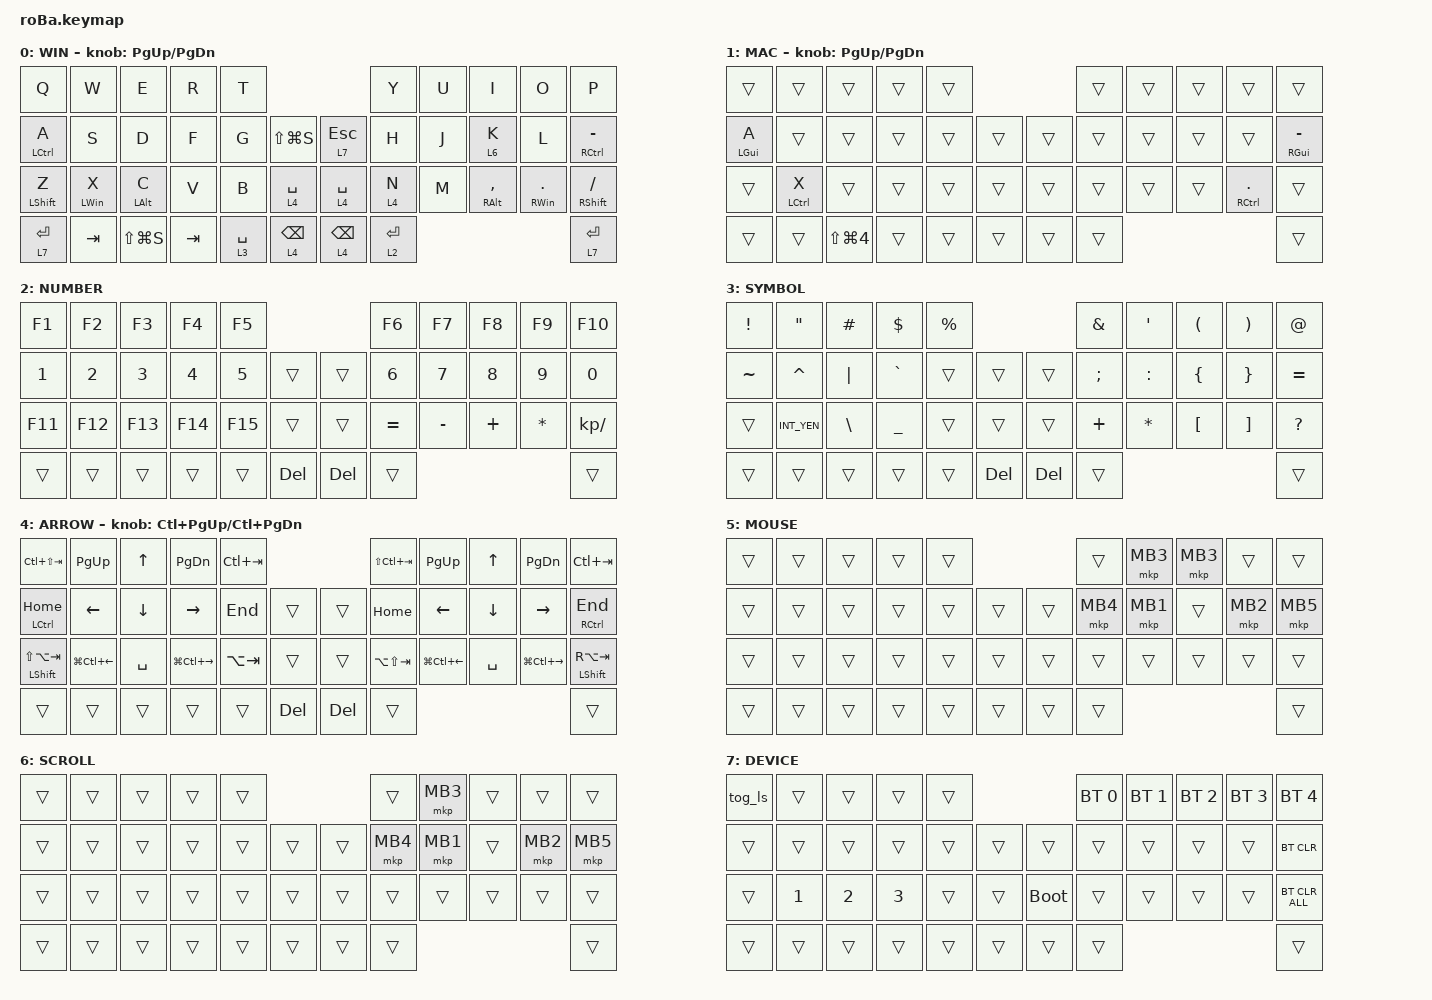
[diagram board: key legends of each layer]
#include <input/processors.dtsi>
#include <behaviors.dtsi>
#include <dt-bindings/zmk/bt.h>
#include <dt-bindings/zmk/keys.h>
#include <dt-bindings/zmk/pointing.h>

&mt {
    flavor = "balanced";
    quick-tap-ms = <150>;
    require-prior-idle-ms = <150>;
    hold-trigger-on-release;
};

&lt {
    flavor = "balanced";
    quick-tap-ms = <150>;
};

&trackball {
    scroll-layers = <6>;

    // arrows {
    //     layers = <4>;
    //     bindings =
    //         <&kp RIGHT_ARROW>,
    //         <&kp LEFT_ARROW>,
    //         <&kp UP_ARROW>,
    //         <&kp DOWN_ARROW>;
    //     tick = <10>;
    //     wait-ms = <5>;
    //     tap-ms = <5>;
    // };
};

/ {
    trackball_listener { input-processors = <&zip_mouse_layer 5 10000>; };

    mkp_input_listener {
        compatible = "zmk,input-listener";
        device = <&mkp>;
        input-processors = <&zip_mouse_layer 5 10000>;
    };

    combos {
        compatible = "zmk,combos";

        combo_esc_l {
            bindings = <&kp ESCAPE>;
            key-positions = <1 2>;
        };

        combo_tab_l {
            bindings = <&kp TAB>;
            key-positions = <11 12>;
            require-prior-idle-ms = <150>;
        };

        combo_backspace_l {
            bindings = <&kp BACKSPACE>;
            key-positions = <12 13>;
            require-prior-idle-ms = <150>;
        };

        combo_eisu {
            bindings = <&kp INTERNATIONAL_5>;
            key-positions = <23 24>;
            require-prior-idle-ms = <150>;
        };

        combo_kana {
            bindings = <&kp INTERNATIONAL_4>;
            key-positions = <31 32>;
            require-prior-idle-ms = <150>;
        };

        combo_esc_r {
            bindings = <&kp ESCAPE>;
            key-positions = <7 8>;
        };

        combo_tab_r {
            bindings = <&kp TAB>;
            key-positions = <19 20>;
            require-prior-idle-ms = <150>;
        };

        combo_backspace_r {
            bindings = <&kp BACKSPACE>;
            key-positions = <18 19>;
            require-prior-idle-ms = <150>;
        };

        colon_l {
            bindings = <&kp COLON>;
            key-positions = <2 3>;
        };

        colon_r {
            bindings = <&kp COLON>;
            key-positions = <7 6>;
        };

        semicolon_l {
            bindings = <&kp SEMICOLON>;
            key-positions = <25 24>;
        };

        semicolon_r {
            bindings = <&kp SEMICOLON>;
            key-positions = <31 30>;
        };
    };

    macros {
        to_layer_0: to_layer_0 {
            compatible = "zmk,behavior-macro-one-param";
            #binding-cells = <1>;
            bindings = <&to 0 &macro_param_1to1 &kp MACRO_PLACEHOLDER>;
            label = "TO_LAYER_0";
        };
    };

    behaviors {
        // Auto Mouse Layer (Input Processor)

        zip_mouse_layer: zip_mouse_layer {
            compatible = "zmk,input-processor-temp-layer";
            #input-processor-cells = <2>;
            require-prior-idle-ms = <200>;
            excluded-positions = <7 18 20>;
        };

        lt_to_layer_0: lt_to_layer_0 {
            compatible = "zmk,behavior-hold-tap";
            label = "LAYER_TAP_TO_0";
            bindings = <&mo>, <&to_layer_0>;

            #binding-cells = <2>;
            tapping-term-ms = <200>;
        };

        // JIS配列対応: &kp を layout-shift 版に置き換え
        // https://github.com/kot149/zmk-layout-shift

        original_key_press: original_key_press {
            compatible = "zmk,behavior-key-press";
            #binding-cells = <1>;
            label = "KEY_PRESS";
        };

        kp: key_press {
            compatible = "zmk,behavior-layout-shift-key-press";
            #binding-cells = <1>;
            label = "LAYOUT_SHIFT_KEY_PRESS";
        };

        tog_ls: toggle_layout_shift {
            compatible = "zmk,behavior-layout-shift-toggle";
            #binding-cells = <0>;
            toggle-mode = "flip";
            label = "LAYOUT_SHIFT_TOGGLE";
        };
    };

    keymap {
        compatible = "zmk,keymap";

        WIN {
            // layer 0

            bindings = <
&kp Q               &kp W           &kp E           &kp R    &kp T                                              &kp Y        &kp U  &kp I                &kp O                 &kp P
&mt LEFT_CONTROL A  &kp S           &kp D           &kp F    &kp G        &kp LS(LG(S))        &lt 7 ESCAPE     &kp H        &kp J  &lt 6 K              &kp L                 &mt RIGHT_CONTROL MINUS
&mt LEFT_SHIFT Z    &mt LEFT_WIN X  &mt LEFT_ALT C  &kp V    &kp B        &lt 4 SPACE          &lt 4 SPACE      &lt 4 N      &kp M  &mt RIGHT_ALT COMMA  &mt RIGHT_WIN PERIOD  &mt RIGHT_SHIFT SLASH
&lt 7 ENTER         &kp TAB         &kp LS(LG(S))   &kp TAB  &lt 3 SPACE  &lt 4 BACKSPACE      &lt 4 BACKSPACE  &lt 2 ENTER                                                    &lt 7 ENTER
            >;

            sensor-bindings = <&inc_dec_kp PG_UP PAGE_DOWN>;
        };

        MAC {
            // layer 1: ベースレイヤー（BT profile 2 接続時に自動で有効化）
            // Ctrl <-> Cmd(GUI) のみ変更。Alt = Option はそのまま

            bindings = <
&trans          &trans              &trans  &trans  &trans                      &trans  &trans  &trans  &trans                    &trans
&mt LEFT_GUI A  &trans              &trans  &trans  &trans  &trans      &trans  &trans  &trans  &trans  &trans                    &mt RIGHT_GUI MINUS
&trans          &mt LEFT_CONTROL X  &trans  &trans  &trans  &trans      &trans  &trans  &trans  &trans  &mt RIGHT_CONTROL PERIOD  &trans
&trans          &trans              &kp LS(LG(N4))  &trans  &trans  &trans      &trans  &trans                                            &trans
            >;

            sensor-bindings = <&inc_dec_kp PG_UP PAGE_DOWN>;
        };

        NUMBER {
            // layer 2

            bindings = <
&kp F1        &kp F2        &kp F3        &kp F4        &kp F5                                 &kp F6        &kp F7        &kp F8        &kp F9        &kp F10
&kp NUMBER_1  &kp NUMBER_2  &kp NUMBER_3  &kp NUMBER_4  &kp NUMBER_5  &trans       &trans      &kp NUMBER_6  &kp NUMBER_7  &kp NUMBER_8  &kp NUMBER_9  &kp NUMBER_0
&kp F11       &kp F12       &kp F13       &kp F14       &kp F15       &trans       &trans      &kp EQUAL     &kp MINUS     &kp PLUS      &kp ASTRK     &kp KP_DIVIDE
&trans        &trans        &trans        &trans        &trans        &kp DEL      &kp DELETE  &trans                                                  &trans
            >;
        };

        SYMBOL {
            // layer 3

            bindings = <
&kp EXCLAMATION  &kp DOUBLE_QUOTES  &kp HASH       &kp DOLLAR  &kp PERCENT                              &kp AMPERSAND  &kp SQT    &kp LEFT_PARENTHESIS  &kp RIGHT_PARENTHESIS  &kp AT_SIGN
&kp TILDE        &kp CARET          &kp PIPE       &kp GRAVE   &trans       &trans          &trans      &kp SEMI       &kp COLON  &kp LEFT_BRACE        &kp RIGHT_BRACE        &kp EQUAL
&trans           &kp INT_YEN        &kp BACKSLASH  &kp UNDER   &trans       &trans          &trans      &kp PLUS       &kp ASTRK  &kp LEFT_BRACKET      &kp RIGHT_BRACKET      &kp QUESTION
&trans           &trans             &trans         &trans      &trans       &kp DELETE      &kp DELETE  &trans                                                                 &trans
            >;
        };

        ARROW {
            // layer 4

            bindings = <
&kp LC(LS(TAB))             &kp PAGE_UP             &kp UP_ARROW    &kp PAGE_DOWN            &kp LC(TAB)                              &kp LS(LC(TAB))  &kp PAGE_UP       &kp UP_ARROW  &kp PAGE_DOWN      &kp LC(TAB)
&mt LEFT_CONTROL HOME       &kp LEFT_ARROW          &kp DOWN_ARROW  &kp RIGHT_ARROW          &kp END      &trans          &trans      &kp HOME         &kp LEFT_ARROW    &kp DOWN      &kp RIGHT          &mt RIGHT_CONTROL END
&mt LEFT_SHIFT LS(LA(TAB))  &kp LG(LC(LEFT_ARROW))  &kp SPACE       &kp LG(LC(RIGHT_ARROW))  &kp LA(TAB)  &trans          &trans      &kp LA(LS(TAB))  &kp LG(LC(LEFT))  &kp SPACE     &kp LG(LC(RIGHT))  &mt LEFT_SHIFT RA(TAB)
&trans                      &trans                  &trans          &trans                   &trans       &kp DELETE      &kp DELETE  &trans                                                              &trans
            >;

            sensor-bindings = <&inc_dec_kp LC(PAGE_UP) LC(PAGE_DOWN)>;
        };

        MOUSE {
            // layer 5

            bindings = <
&trans  &trans  &trans  &trans  &trans                      &trans    &mkp MB3  &mkp MB3  &trans    &trans
&trans  &trans  &trans  &trans  &trans  &trans      &trans  &mkp MB4  &mkp MB1  &trans    &mkp MB2  &mkp MB5
&trans  &trans  &trans  &trans  &trans  &trans      &trans  &trans    &trans    &trans    &trans    &trans
&trans  &trans  &trans  &trans  &trans  &trans      &trans  &trans                                  &trans
            >;
        };

        SCROLL {
            // layer 6

            bindings = <
&trans  &trans  &trans  &trans  &trans                      &trans    &mkp MB3  &trans  &trans    &trans
&trans  &trans  &trans  &trans  &trans  &trans      &trans  &mkp MB4  &mkp MB1  &trans  &mkp MB2  &mkp MB5
&trans  &trans  &trans  &trans  &trans  &trans      &trans  &trans    &trans    &trans  &trans    &trans
&trans  &trans  &trans  &trans  &trans  &trans      &trans  &trans                                &trans
            >;
        };

        DEVICE {
            // layer 7: DEVICE

            bindings = <
&tog_ls  &trans        &trans        &trans        &trans                           &bt BT_SEL 0  &bt BT_SEL 1  &bt BT_SEL 2  &bt BT_SEL 3  &bt BT_SEL 4
&trans   &trans        &trans        &trans        &trans  &trans      &trans       &trans        &trans        &trans        &trans        &bt BT_CLR
&trans   &kp NUMBER_1  &kp NUMBER_2  &kp NUMBER_3  &trans  &trans      &bootloader  &trans        &trans        &trans        &trans        &bt BT_CLR_ALL
&trans   &trans        &trans        &trans        &trans  &trans      &trans       &trans                                                  &trans
            >;
        };
    };
};
